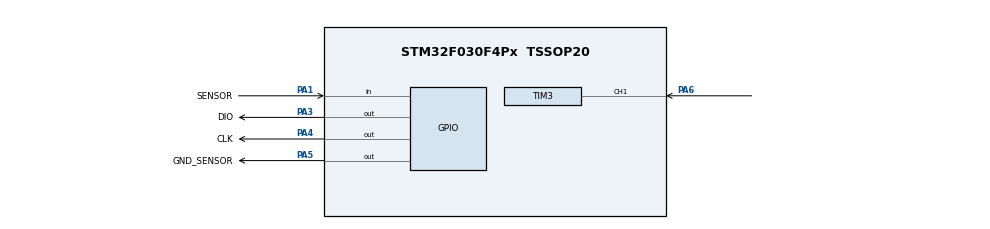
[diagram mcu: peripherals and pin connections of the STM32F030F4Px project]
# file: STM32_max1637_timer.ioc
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Mcu.Family=STM32F0
Mcu.Name=STM32F030F4Px
Mcu.Package=TSSOP20
NVIC.TIM3_IRQn=true\:0\:0\:false\:false\:true
PA1.GPIO_Label=SENSOR
PA1.Signal=GPIO_Input
PA13.Mode=Serial_Wire
PA13.Signal=SYS_SWDIO
PA14.Mode=Serial_Wire
PA14.Signal=SYS_SWCLK
PA3.GPIO_Label=DIO
PA3.Signal=GPIO_Output
PA4.GPIO_Label=CLK
PA4.Signal=GPIO_Output
PA5.GPIO_Label=GND_SENSOR
PA5.Signal=GPIO_Output
PA6.Signal=S_TIM3_CH1
ProjectManager.HeapSize=0x200
ProjectManager.StackSize=0x400
ProjectManager.TargetToolchain=Makefile
SH.S_TIM3_CH1.0=TIM3_CH1,Input_Capture1_from_TI1
TIM3.Channel-Input_Capture1_from_TI1=TIM_CHANNEL_1
TIM3.ICFilter_CH1=7
TIM3.Period=10000
TIM3.Prescaler=80-1
VP_TIM3_VS_ClockSourceINT.Mode=Internal
board=STM32_max1637_timer

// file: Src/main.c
/**
  ******************************************************************************
  * File Name          : main.c
  * Description        : Main program body
  ******************************************************************************
  ** This notice applies to any and all portions of this file
  * that are not between comment pairs USER CODE BEGIN and
  * USER CODE END. Other portions of this file, whether
  * inserted by the user or by software development tools
  * are owned by their respective copyright owners.
  *
  * COPYRIGHT(c) 2018 STMicroelectronics
  *
  * Redistribution and use in source and binary forms, with or without modification,
  * are permitted provided that the following conditions are met:
  *   1. Redistributions of source code must retain the above copyright notice,
  *      this list of conditions and the following disclaimer.
  *   2. Redistributions in binary form must reproduce the above copyright notice,
  *      this list of conditions and the following disclaimer in the documentation
  *      and/or other materials provided with the distribution.
  *   3. Neither the name of STMicroelectronics nor the names of its contributors
  *      may be used to endorse or promote products derived from this software
  *      without specific prior written permission.
  *
  * THIS SOFTWARE IS PROVIDED BY THE COPYRIGHT HOLDERS AND CONTRIBUTORS "AS IS"
  * AND ANY EXPRESS OR IMPLIED WARRANTIES, INCLUDING, BUT NOT LIMITED TO, THE
  * IMPLIED WARRANTIES OF MERCHANTABILITY AND FITNESS FOR A PARTICULAR PURPOSE ARE
  * DISCLAIMED. IN NO EVENT SHALL THE COPYRIGHT HOLDER OR CONTRIBUTORS BE LIABLE
  * FOR ANY DIRECT, INDIRECT, INCIDENTAL, SPECIAL, EXEMPLARY, OR CONSEQUENTIAL
  * DAMAGES (INCLUDING, BUT NOT LIMITED TO, PROCUREMENT OF SUBSTITUTE GOODS OR
  * SERVICES; LOSS OF USE, DATA, OR PROFITS; OR BUSINESS INTERRUPTION) HOWEVER
  * CAUSED AND ON ANY THEORY OF LIABILITY, WHETHER IN CONTRACT, STRICT LIABILITY,
  * OR TORT (INCLUDING NEGLIGENCE OR OTHERWISE) ARISING IN ANY WAY OUT OF THE USE
  * OF THIS SOFTWARE, EVEN IF ADVISED OF THE POSSIBILITY OF SUCH DAMAGE.
  *
  ******************************************************************************
  */
#include "main.h"
#include "stm32f0xx_hal.h"
#include "tim.h"
#include "gpio.h"

/* USER CODE BEGIN Includes */
#include "bband.h"
#include "1637.h"
/* USER CODE END Includes */

/* USER CODE BEGIN PV */
/* Private variables ---------------------------------------------------------*/
// uint32_t adjust = 24000;
// uint32_t counter;
// uint32_t tim_counter; // external for timer - extern uint16_t tim_counter;
uint16_t count = 0;
uint16_t input_capture = 0;
/* USER CODE END PV */

void SystemClock_Config(void);

/* USER CODE BEGIN PFP */
/* Private function prototypes -----------------------------------------------*/
__STATIC_INLINE void DelayMicro(uint32_t volatile micros)
{
  micros *=(SystemCoreClock/1000000)/5;
  while(micros--);
}

/* USER CODE END PFP */

/* USER CODE BEGIN 0 */
// __weak void HAL_TIM_PeriodElapsedCallback(TIM_HandleTypeDef *htim)
// {
//   if(htim->Instance==TIM3)
//   {
//     HAL_GPIO_TogglePin(led_port, led_pin);
//   }
// }

__weak void HAL_TIM_IC_CaptureCallback(TIM_HandleTypeDef *htim)
{
  if(htim->Instance==TIM3)
  {
    //__HAL_TIM_SET_COUNTER(&htim3, 0); //reset counter
    htim->Instance->CNT = 0; //reset counter after input capture interrupt
  }
}
/* USER CODE END 0 */

int main(void)
{

  /* MCU Configuration----------------------------------------------------------*/

  /* Reset of all peripherals, Initializes the Flash interface and the Systick. */
  HAL_Init();

  /* Configure the system clock */
  SystemClock_Config();

  /* Initialize all configured peripherals */
  MX_GPIO_Init();
  MX_TIM3_Init();

  /* USER CODE BEGIN 2 */
  HAL_GPIO_DeInit(SENSOR_GPIO_Port, SENSOR_Pin);
  HAL_GPIO_WritePin(GND_SENSOR_GPIO_Port, GND_SENSOR_Pin, GPIO_PIN_RESET);
  indication((SystemCoreClock/10000));
  HAL_Delay(500);

  //HAL_TIM_Base_Start(&htim3);
  //HAL_TIM_Base_Start_IT(&htim3);

  /* Blocking mode: Polling */
  //HAL_TIM_IC_Start(&htim3, TIM_CHANNEL_1);
  //HAL_TIM_IC_Stop(&htim3, TIM_CHANNEL_1);
  /* Non-Blocking mode: Interrupt */
  HAL_TIM_IC_Start_IT(&htim3, TIM_CHANNEL_1);

  /* USER CODE END 2 */

  /* Infinite loop */
  while (1)
  {

  /* USER CODE BEGIN 3 */
      count = __HAL_TIM_GET_COUNTER(&htim3); // read tim3 counter value
      input_capture = __HAL_TIM_GET_COMPARE(&htim3, TIM_CHANNEL_1); // read tim3 channel 1 capture value
      //indication(input_capture);
      indication(1000000/input_capture);
      HAL_Delay(50);

  }
  /* USER CODE END 3 */

}

/** System Clock Configuration
*/
void SystemClock_Config(void)
{

  RCC_OscInitTypeDef RCC_OscInitStruct;
  RCC_ClkInitTypeDef RCC_ClkInitStruct;

    /**Initializes the CPU, AHB and APB busses clocks
    */
  RCC_OscInitStruct.OscillatorType = RCC_OSCILLATORTYPE_HSI;
  RCC_OscInitStruct.HSIState = RCC_HSI_ON;
  RCC_OscInitStruct.HSICalibrationValue = 16;
  RCC_OscInitStruct.PLL.PLLState = RCC_PLL_NONE;
  if (HAL_RCC_OscConfig(&RCC_OscInitStruct) != HAL_OK)
  {
    _Error_Handler(__FILE__, __LINE__);
  }

    /**Initializes the CPU, AHB and APB busses clocks
    */
  RCC_ClkInitStruct.ClockType = RCC_CLOCKTYPE_HCLK|RCC_CLOCKTYPE_SYSCLK
                              |RCC_CLOCKTYPE_PCLK1;
  RCC_ClkInitStruct.SYSCLKSource = RCC_SYSCLKSOURCE_HSI;
  RCC_ClkInitStruct.AHBCLKDivider = RCC_SYSCLK_DIV1;
  RCC_ClkInitStruct.APB1CLKDivider = RCC_HCLK_DIV1;

  if (HAL_RCC_ClockConfig(&RCC_ClkInitStruct, FLASH_LATENCY_0) != HAL_OK)
  {
    _Error_Handler(__FILE__, __LINE__);
  }

    /**Configure the Systick interrupt time
    */
  HAL_SYSTICK_Config(HAL_RCC_GetHCLKFreq()/1000);

    /**Configure the Systick
    */
  HAL_SYSTICK_CLKSourceConfig(SYSTICK_CLKSOURCE_HCLK);

  /* SysTick_IRQn interrupt configuration */
  HAL_NVIC_SetPriority(SysTick_IRQn, 0, 0);
}

void _Error_Handler(char * file, int line)
{
  while(1)
  {
  }
}

/************************ (C) COPYRIGHT STMicroelectronics *****END OF FILE****/
